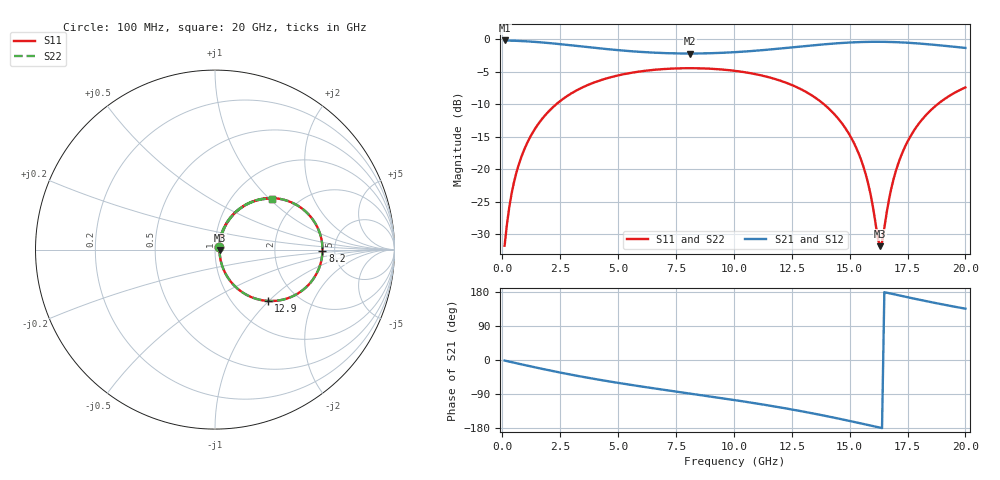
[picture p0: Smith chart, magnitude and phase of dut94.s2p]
! Touchstone file exported from HFSS 2026.1.0
!  File:  C:/ffzhzh/LocalFiles/Ansys_Project_Files/temp_train_TSV_RDL_94_1782973343_6388.aedt
!  Generated:  02:36:23 PM Jul  2, 2026
!  Design:  TSV_RDL
!  Project:  temp_train_TSV_RDL_94_1782973343_6388
! Variables:
!  h_bsmrdl = 2.12um
!  h_ox = 20um
!  h_rdl = 5um
!  h_sub = 93.62um
!  h_tmrdl = 3.75um
!  h_tsv = 93.62um
!  h_via = 3um
!  l_bsmrdl = 129.29um
!  l_sub = 3559.97um
!  l_tmrdl = 667.63um
!  m_sub = 200um
!  pitch = 53.14um
!  r_tsv = 5.05um
!  s_tmrdl = 10um
!  w_bsmrdl = 12.81um
!  w_sub = 500um
!  w_tmrdl = 21.05um
!  x_tsv_center1 = 678.155um
!  x_tsv_center2 = 820.255um
!  x_tsv_center3 = 1508.935um
!  x_tsv_center4 = 1651.035um
!  x_tsv_center5 = 2339.715um
!  x_tsv_center6 = 2481.815um
# GHz S MA R 50.000000
! Terminal data exported
! Port[1] = TM_RDL1_1_T1
! Port[2] = TM_RDL5_1_T1
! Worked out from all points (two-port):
!   200 points, 100 MHz to 20 GHz, reference 50 ohm
!   highest |S21| = -0.18 dB at 100 MHz (marker M1); lowest = -2.2 dB at 8.1 GHz (marker M2)
!   |S21| within 3 dB of the highest: start of sweep to end of sweep
!   lowest |S11| = -31.9 dB at 16.3 GHz (marker M3), VSWR 1.05, Z = 52.6 - j0.347 ohm
!   |S11| at or under -10 dB: start of sweep to 2.331 GHz; 13.89 GHz to 18.8 GHz (4.909 GHz wide, 30 % of centre)
!   |S22| runs from -31.8 to -4.5 dB; largest |S21 - S12| = 1.8e-14
!   S11 on the Smith chart (normalised r, x): 100 MHz: 1.04, +0.03; 8.2 GHz: 3.98, -0.11; 12.9 GHz: 1.44, -0.99; 20 GHz: 1.50, +1.04
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0.1  0.02578 36.2  0.9795 -1.4  0.9795 -1.4  0.02578 36.2
! Gamma 0 0 0 0
! Port Impedance 50 0 50 0
0.3  0.05078 60.8  0.9774 -4.3  0.9774 -4.3  0.05078 60.8
0.5  0.07867 66.6  0.9747 -7.0  0.9747 -7.0  0.07867 66.6
1.1  0.1626 66.5  0.9634 -15.2  0.9634 -15.2  0.1626 66.5
2.1  0.29 56.9  0.9326 -28.2  0.9326 -28.2  0.29 56.9
3.5  0.4292 41.9  0.8779 -44.7  0.8779 -44.7  0.4292 41.9
6.8  0.587 11.0  0.7854 -77.1  0.7854 -77.1  0.587 11.0
8.1  0.599 -0.0  0.7769 -88.5  0.7769 -88.5  0.599 -0.0
8.2  0.5989 -0.9  0.777 -89.4  0.777 -89.4  0.599 -0.9
10.1  0.5699 -17.2  0.797 -106.4  0.797 -106.4  0.5699 -17.1
12.9  0.4126 -43.9  0.8801 -135.0  0.8801 -135.0  0.4126 -43.9
13.4  0.3667 -49.1  0.8978 -140.8  0.8978 -140.8  0.3667 -49.1
14.5  0.2461 -60.4  0.9326 -154.4  0.9326 -154.4  0.2461 -60.4
15.3  0.1442 -66.4  0.9498 -164.8  0.9498 -164.8  0.1442 -66.4
15.8  0.07766 -64.1  0.9555 -171.5  0.9555 -171.5  0.07772 -64.0
16.3  0.02555 -7.4  0.9566 -178.3  0.9566 -178.3  0.02571 -7.4
16.4  0.02745 21.7  0.9563 -179.6  0.9563 -179.6  0.0276 21.6
16.7  0.05832 59.3  0.9542 176.3  0.9542 176.3  0.05839 59.2
17.2  0.1237 66.7  0.9471 169.6  0.9471 169.6  0.1237 66.6
17.8  0.201 63.6  0.9334 161.8  0.9334 161.8  0.201 63.6
18.7  0.3057 55.1  0.9052 150.5  0.9052 150.5  0.3057 55.1
20  0.426 41.8  0.858 135.4  0.858 135.4  0.4261 41.8
